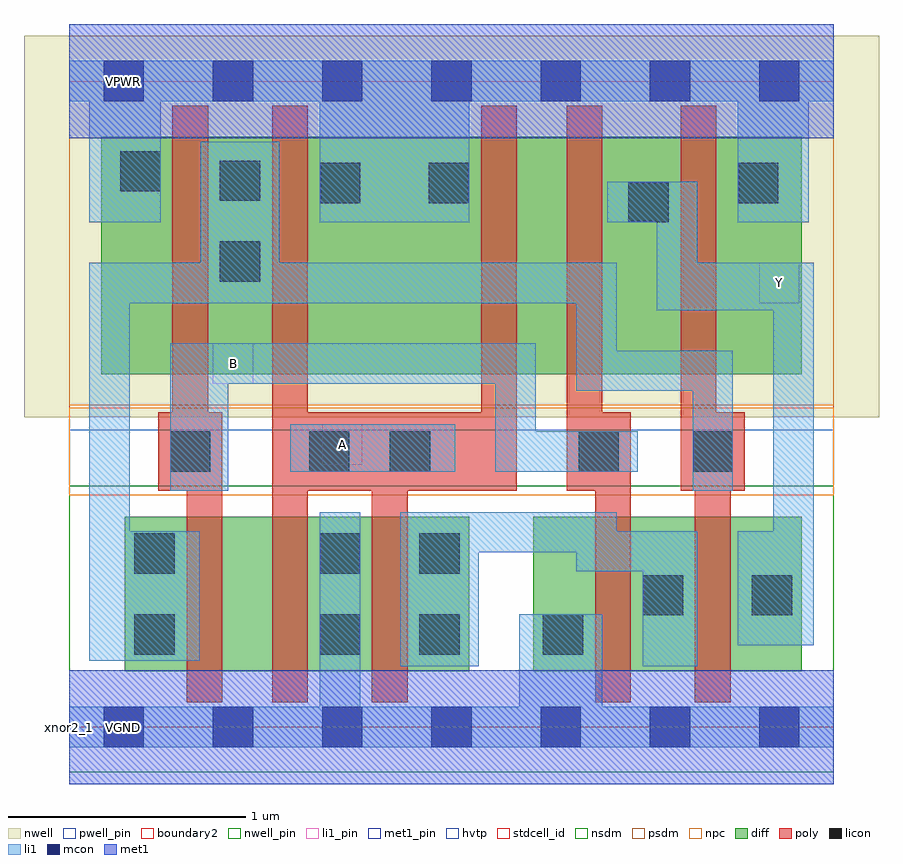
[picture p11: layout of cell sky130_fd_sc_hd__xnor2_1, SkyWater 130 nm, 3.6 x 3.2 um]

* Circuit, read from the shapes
.subckt sky130_fd_sc_hd__xnor2_1 A B VGND VNB VPB VPWR Y
XM1 n1 B n2 VNB sky130_fd_pr__nfet_01v8 w=0.65 l=0.15
XM2 VGND A n1 VNB sky130_fd_pr__nfet_01v8 w=0.65 l=0.15
XM3 n3 A VGND VNB sky130_fd_pr__nfet_01v8 w=0.65 l=0.15
XM4 n3 B VGND VNB sky130_fd_pr__nfet_01v8 w=0.65 l=0.15
XM5 Y n2 n3 VNB sky130_fd_pr__nfet_01v8 w=0.65 l=0.15
XM6 n2 B VPWR VPB sky130_fd_pr__pfet_01v8_hvt w=1 l=0.15
XM7 VPWR A n2 VPB sky130_fd_pr__pfet_01v8_hvt w=1 l=0.15
XM8 n4 A VPWR VPB sky130_fd_pr__pfet_01v8_hvt w=1 l=0.15
XM9 Y B n4 VPB sky130_fd_pr__pfet_01v8_hvt w=1 l=0.15
XM10 VPWR n2 Y VPB sky130_fd_pr__pfet_01v8_hvt w=1 l=0.15
.ends

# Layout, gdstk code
import gdstk
lib = gdstk.Library(unit=1e-6, precision=1e-09)
def R(c, l, rs):  # rectangles x0, y0, x1, y1
    for r in rs: c.add(gdstk.rectangle(r[:2], r[2:], *l))
def A(c, l, x, y, w, h, nx, ny, dx, dy):  # array of equal rectangles
    R(c, l, [(x+i*dx, y+j*dy, x+i*dx+w, y+j*dy+h) for i in range(nx) for j in range(ny)])
def P(c, l, *ps):  # polygons
    for p in ps: c.add(gdstk.Polygon(p, *l))
nwell_pin = (64, 16)
nwell = (64, 20)
diff = (65, 20)
poly = (66, 20)
licon = (66, 44)
li1_pin = (67, 16)
li1 = (67, 20)
mcon = (67, 44)
met1_pin = (68, 16)
met1 = (68, 20)
hvtp = (78, 44)
stdcell_id = (81, 4)
nsdm = (93, 44)
psdm = (94, 20)
npc = (95, 20)
pwell_pin = (122, 16)
boundary2 = (236, 0)

sky130_fd_sc_hd__xnor2_1 = lib.new_cell('sky130_fd_sc_hd__xnor2_1')
R(sky130_fd_sc_hd__xnor2_1, nwell_pin, [(0.145,2.635,0.315,2.805)])
R(sky130_fd_sc_hd__xnor2_1, nwell, [(-0.19,1.305,3.41,2.91)])
R(sky130_fd_sc_hd__xnor2_1, diff, [(0.235,0.235,1.685,0.885), (1.955,0.235,3.085,0.885), (0.135,1.485,3.085,2.485)])
P(sky130_fd_sc_hd__xnor2_1, poly, [(2.845,1.325),(2.725,1.325),(2.725,2.615),(2.575,2.615),(2.575,0.995),(2.635,0.995),(2.635,0.105),(2.785,0.105),(2.785,0.995),(2.845,0.995)],
  [(2.365,1.325),(2.245,1.325),(2.245,2.615),(2.095,2.615),(2.095,0.995),(2.215,0.995),(2.215,0.105),(2.365,0.105)],
  [(1.885,2.615),(1.735,2.615),(1.735,1.325),(1.005,1.325),(1.005,2.615),(0.855,2.615),(0.855,0.105),(1.005,0.105),(1.005,0.995),(1.275,0.995),(1.275,0.105),(1.425,0.105),(1.425,0.995),(1.885,0.995)],
  [(0.645,1.325),(0.585,1.325),(0.585,2.615),(0.435,2.615),(0.435,1.325),(0.375,1.325),(0.375,0.995),(0.495,0.995),(0.495,0.105),(0.645,0.105)])
R(sky130_fd_sc_hd__xnor2_1, licon, [(0.275,0.305,0.445,0.475), (1.055,0.305,1.225,0.475), (1.475,0.305,1.645,0.475), (1.995,0.305,2.165,0.475), (2.415,0.47,2.585,0.64), (2.875,0.47,3.045,0.64), (0.275,0.645,0.445,0.815), (1.055,0.645,1.225,0.815), (1.475,0.645,1.645,0.815), (0.425,1.075,0.595,1.245), (1.01,1.075,1.18,1.245), (1.35,1.075,1.52,1.245), (2.145,1.075,2.315,1.245), (2.625,1.075,2.795,1.245), (0.635,1.875,0.805,2.045), (2.355,2.125,2.525,2.295), (1.055,2.205,1.225,2.375), (1.515,2.205,1.685,2.375), (2.815,2.205,2.985,2.375), (0.635,2.215,0.805,2.385), (0.215,2.255,0.385,2.425)])
R(sky130_fd_sc_hd__xnor2_1, li1_pin, [(1.065,1.105,1.235,1.275), (0.605,1.445,0.775,1.615), (2.905,1.785,3.075,1.955)])
R(sky130_fd_sc_hd__xnor2_1, li1, [(0.93,1.075,1.625,1.275)])
P(sky130_fd_sc_hd__xnor2_1, li1, [(3.135,1.955),(2.645,1.955),(2.645,2.295),(2.265,2.295),(2.265,2.125),(2.475,2.125),(2.475,1.755),(2.965,1.755),(2.965,0.825),(2.815,0.825),(2.815,0.345),(3.135,0.345)],
  [(2.795,1.585),(2.305,1.585),(2.305,1.955),(0.885,1.955),(0.885,2.465),(0.555,2.465),(0.555,1.955),(0.085,1.955),(0.085,0.28),(0.55,0.28),(0.55,0.825),(0.255,0.825),(0.255,1.785),(2.135,1.785),(2.135,1.415),(2.625,1.415),(2.625,0.995),(2.795,0.995)],
  [(2.645,0.825),(2.305,0.825),(2.305,0.905),(1.395,0.905),(1.395,0.255),(1.725,0.255),(1.725,0.735),(2.135,0.735),(2.135,0.655),(2.415,0.655),(2.415,0.255),(2.645,0.255)],
  [(2.395,1.245),(1.965,1.245),(1.965,1.615),(0.425,1.615),(0.425,0.995),(0.67,0.995),(0.67,1.445),(1.795,1.445),(1.795,1.075),(2.395,1.075)],
  [(3.22,2.805),(0,2.805),(0,2.635),(0.085,2.635),(0.085,2.125),(0.385,2.125),(0.385,2.635),(1.055,2.635),(1.055,2.125),(1.685,2.125),(1.685,2.635),(2.815,2.635),(2.815,2.125),(3.115,2.125),(3.115,2.635),(3.22,2.635)],
  [(3.22,0.085),(2.245,0.085),(2.245,0.475),(1.895,0.475),(1.895,0.085),(1.225,0.085),(1.225,0.905),(1.055,0.905),(1.055,0.085),(0,0.085),(0,-0.085),(3.22,-0.085)])
A(sky130_fd_sc_hd__xnor2_1, mcon, 0.145, -0.085, 0.17, 0.17, 7, 2, 0.46, 2.72)
R(sky130_fd_sc_hd__xnor2_1, met1_pin, [(0.145,-0.085,0.315,0.085), (0.145,2.635,0.315,2.805)])
R(sky130_fd_sc_hd__xnor2_1, hvtp, [(0,1.25,3.22,2.72)])
R(sky130_fd_sc_hd__xnor2_1, stdcell_id, [(0,0,3.22,2.72)])
R(sky130_fd_sc_hd__xnor2_1, nsdm, [(0,-0.19,3.22,1.015)])
R(sky130_fd_sc_hd__xnor2_1, psdm, [(0,1.355,3.22,2.91)])
R(sky130_fd_sc_hd__xnor2_1, npc, [(0,0.975,3.22,1.345)])
R(sky130_fd_sc_hd__xnor2_1, pwell_pin, [(0.145,-0.085,0.315,0.085)])
R(sky130_fd_sc_hd__xnor2_1, boundary2, [(0,0,3.22,2.72)])
sky130_fd_sc_hd__xnor2_1.add(gdstk.FlexPath([(0,0),(3.22,0)], 0.48, ends="flush", simple_path=True, layer=68, datatype=20))  # met1
sky130_fd_sc_hd__xnor2_1.add(gdstk.FlexPath([(0,2.72),(3.22,2.72)], 0.48, ends="flush", simple_path=True, layer=68, datatype=20))  # met1
sky130_fd_sc_hd__xnor2_1.add(gdstk.Label('VGND', (0.23,0), layer=68, texttype=5))
sky130_fd_sc_hd__xnor2_1.add(gdstk.Label('VPWR', (0.23,2.72), layer=68, texttype=5))
sky130_fd_sc_hd__xnor2_1.add(gdstk.Label('B', (0.69,1.53), layer=67, texttype=5))
sky130_fd_sc_hd__xnor2_1.add(gdstk.Label('Y', (2.99,1.87), layer=67, texttype=5))
sky130_fd_sc_hd__xnor2_1.add(gdstk.Label('A', (1.15,1.19), layer=67, texttype=5))
sky130_fd_sc_hd__xnor2_1.add(gdstk.Label('VPB', (0.23,2.72), layer=64, texttype=5))
sky130_fd_sc_hd__xnor2_1.add(gdstk.Label('VNB', (0.23,0), layer=64, texttype=59))
sky130_fd_sc_hd__xnor2_1.add(gdstk.Label('xnor2_1', (0,0), layer=83, texttype=44))

lib.write_gds('sky130_fd_sc_hd__xnor2_1.gds')
